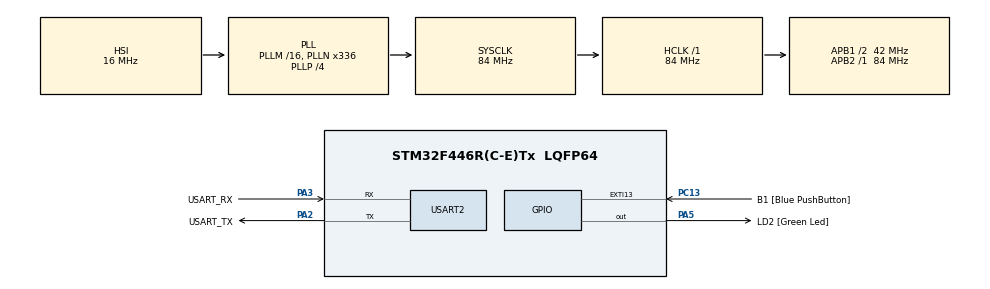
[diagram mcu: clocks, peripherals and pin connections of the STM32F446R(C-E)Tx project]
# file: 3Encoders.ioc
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Mcu.Family=STM32F4
Mcu.Name=STM32F446R(C-E)Tx
Mcu.Package=LQFP64
NVIC.PriorityGroup=NVIC_PRIORITYGROUP_0
PA13.GPIO_Label=TMS
PA13.Mode=Serial_Wire
PA13.Signal=SYS_JTMS-SWDIO
PA14.GPIO_Label=TCK
PA14.Mode=Serial_Wire
PA14.Signal=SYS_JTCK-SWCLK
PA2.GPIO_Label=USART_TX
PA2.Mode=Asynchronous
PA2.Signal=USART2_TX
PA3.GPIO_Label=USART_RX
PA3.Mode=Asynchronous
PA3.Signal=USART2_RX
PA5.GPIO_Label=LD2 [Green Led]
PA5.Signal=GPIO_Output
PB3.GPIO_Label=SWO
PB3.Signal=SYS_JTDO-SWO
PC13.GPIO_Label=B1 [Blue PushButton]
PC13.GPIO_ModeDefaultEXTI=GPIO_MODE_IT_FALLING
PC13.Signal=GPXTI13
PC14-OSC32_IN.Mode=LSE-External-Oscillator
PC14-OSC32_IN.Signal=RCC_OSC32_IN
PC15-OSC32_OUT.Mode=LSE-External-Oscillator
PC15-OSC32_OUT.Signal=RCC_OSC32_OUT
PH0-OSC_IN.Mode=HSE-External-Oscillator
PH0-OSC_IN.Signal=RCC_OSC_IN
PH1-OSC_OUT.Mode=HSE-External-Oscillator
PH1-OSC_OUT.Signal=RCC_OSC_OUT
ProjectManager.HeapSize=0x200
ProjectManager.StackSize=0x400
ProjectManager.TargetToolchain=STM32CubeIDE
RCC.48MHZClocksFreq_Value=84000000
RCC.AHBFreq_Value=84000000
RCC.APB1CLKDivider=RCC_HCLK_DIV2
RCC.APB1Freq_Value=42000000
RCC.APB1TimFreq_Value=84000000
RCC.APB2Freq_Value=84000000
RCC.APB2TimFreq_Value=84000000
RCC.CortexFreq_Value=84000000
RCC.FLatency-AdvancedSettings=FLASH_LATENCY_2
RCC.HCLKFreq_Value=84000000
RCC.HSE_VALUE=8000000
RCC.HSI_VALUE=16000000
RCC.PLLN=336
RCC.PLLP=RCC_PLLP_DIV4
RCC.SYSCLKFreq_VALUE=84000000
RCC.SYSCLKSource=RCC_SYSCLKSOURCE_PLLCLK
RCC.USBFreq_Value=168000000
RCC.VCOOutputFreq_Value=336000000
USART2.VirtualMode=VM_ASYNC
board=NUCLEO-F446RE

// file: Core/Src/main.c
/* USER CODE BEGIN Header */
/**
  ******************************************************************************
  * @file           : main.c
  * @brief          : Main program body
  ******************************************************************************
  * @attention
  *
  * Copyright (c) 2025 STMicroelectronics.
  * All rights reserved.
  *
  * This software is licensed under terms that can be found in the LICENSE file
  * in the root directory of this software component.
  * If no LICENSE file comes with this software, it is provided AS-IS.
  *
  ******************************************************************************
  */
/* USER CODE END Header */
#include "main.h"

/* USER CODE BEGIN Includes */
#include <stdio.h>
/* USER CODE END Includes */

UART_HandleTypeDef huart2;

void SystemClock_Config(void);
static void MX_GPIO_Init(void);
static void MX_USART2_UART_Init(void);

/* USER CODE BEGIN 0 */
//void Channel_A_Config(void)
//{
//  uint32_t *pAHB1ClkCtrlReg =   (uint32_t*)0x40023830; // address of AHB1 clock control register
//  uint32_t *pAFRLPortAReg   =   (uint32_t*)0x40020024; // address of alternate function register of port A
//  uint32_t *pPortAModeReg   =   (uint32_t*)0x40020000; // address of port A mode register
//  uint32_t *pPortAPullUpReg =   (uint32_t*)0x4002000C; // address of port A pull up register
//
//  *pAHB1ClkCtrlReg |= 0x1;        // port A clock enable
//  *pAFRLPortAReg   |= 0x00000001; // alternate function of Timer 1 Channel 1 enabled
//  *pPortAModeReg   &= 0xFFFCFFFF;
//  *pPortAModeReg   |= 0x00020000; // port A Pin 8 configured for 'Alternate function'
//  *pPortAPullUpReg |= 0x10000;    // port A Pin 8 pulled up
//}
//
//void Channel_B_Config(void)
//{
//  uint32_t *pAHB1ClkCtrlReg =   (uint32_t*)0x40023830; // address of AHB1 clock control register
//  uint32_t *pAFRLPortAReg   =   (uint32_t*)0x40020024; // address of alternate function register of port A
//  uint32_t *pPortAModeReg   =   (uint32_t*)0x40020000; // address of port A mode register
//  uint32_t *pPortAPullUpReg =   (uint32_t*)0x4002000C; // address of port A pull up register
//
//  *pAHB1ClkCtrlReg |= 0x1;        // port A clock enable
//  *pAFRLPortAReg   |= 0x00000010; // alternate function of Timer 1 Channel 2 enabled
//  *pPortAModeReg   &= 0xFFF3FFFF;
//  *pPortAModeReg   |= 0x00080000; // port A Pin 9 configured for 'Alternate function'
//  *pPortAPullUpReg |= 0x40000;    // port A Pin 9 pulled up
//}
//
//void Channel_A_Config1(void)
//{
//  uint32_t *pAHB1ClkCtrlReg =   (uint32_t*)0x40023830; // address of AHB1 clock control register
//  uint32_t *pAFRLPortAReg   =   (uint32_t*)0x40020024; // address of alternate function register of port A
//  uint32_t *pPortAModeReg   =   (uint32_t*)0x40020000; // address of port A mode register
//  uint32_t *pPortAPullUpReg =   (uint32_t*)0x4002000C; // address of port A pull up register
//
//  *pAHB1ClkCtrlReg |= 0x1;        // port A clock enable
//  *pAFRLPortAReg   |= 0x00010000; // alternate function of Timer 2 Channel 1 enabled
//  *pPortAModeReg   &= 0x3FFFFFFF;
//  *pPortAModeReg   |= 0x80000000; // port A Pin 15 configured for 'Alternate function'
//  *pPortAPullUpReg |= 0x40000000;    // port A Pin 15 pulled up
//}
//
//void Channel_B_Config1(void)
//{
//  uint32_t *pAHB1ClkCtrlReg =   (uint32_t*)0x40023830; // address of AHB1 clock control register
//  uint32_t *pAFRLPortBReg   =   (uint32_t*)0x40020420; // address of alternate function register of port B
//  uint32_t *pPortBModeReg   =   (uint32_t*)0x40020400; // address of port B mode register
//  uint32_t *pPortBPullUpReg =   (uint32_t*)0x4002040C; // address of port B pull up register
//
//  *pAHB1ClkCtrlReg |= 0x2;        // port B clock enable
//  *pAFRLPortBReg   |= 0x00100000; // alternate function of Timer 2 Channel 2 enabled
//  *pPortBModeReg   &= 0xFFFFFF3F;
//  *pPortBModeReg   |= 0x00000080; // port B Pin 3 configured for 'Alternate function'
//  *pPortBPullUpReg |= 0x0040;     // port B Pin 3 pulled up
//}
//
//
//void Channel_A_Config2(void)
//{
//  uint32_t *pAHB1ClkCtrlReg =   (uint32_t*)0x40023830; // address of AHB1 clock control register
//  uint32_t *pAFRLPortBReg   =   (uint32_t*)0x40020420; // address of alternate function register of port B
//  uint32_t *pPortBModeReg   =   (uint32_t*)0x40020400; // address of port B mode register
//  uint32_t *pPortBPullUpReg =   (uint32_t*)0x4002040C; // address of port B pull up register
//
//  *pAHB1ClkCtrlReg |= 0x2;        // port B clock enable
//  *pAFRLPortBReg   |= 0x00001000; // alternate function of Timer 3 Channel 1 enabled
//  *pPortBModeReg   &= 0xFFFFFCFF;
//  *pPortBModeReg   |= 0x00000200; // port B Pin 4 configured for 'Alternate function'
//  *pPortBPullUpReg |= 0x00100;     // port B Pin 4 pulled up
//}
//
//
//void Channel_B_Config2(void)
//{
//  uint32_t *pAHB1ClkCtrlReg =   (uint32_t*)0x40023830; // address of AHB1 clock control register
//  uint32_t *pAFRLPortBReg   =   (uint32_t*)0x40020420; // address of alternate function register of port B
//  uint32_t *pPortBModeReg   =   (uint32_t*)0x40020400; // address of port B mode register
//  uint32_t *pPortBPullUpReg =   (uint32_t*)0x4002040C; // address of port B pull up register
//
//  *pAHB1ClkCtrlReg |= 0x2;        // port B clock enable
//  *pAFRLPortBReg   |= 0x00001000; // alternate function of Timer 3 Channel 2 enabled
//  *pPortBModeReg   &= 0xFFFFF3FF;
//  *pPortBModeReg   |= 0x00000800; // port B Pin 5 configured for 'Alternate function'
//  *pPortBPullUpReg |= 0x00400;     // port B Pin 5 pulled up
//}
//
//void Encoder_Init(uint16_t ARR_Value)
//{
//	 uint32_t *pAPB2ClkCtrlReg =   (uint32_t*)0x40023844; // address of APB2 clock control register
//	 uint32_t *pTimer1ArrReg   =   (uint32_t*)0x4001002C; // address of timer 1 auto reload register
//	 uint32_t *pTimer1CCMR1Reg =   (uint32_t*)0x40010018; // address of timer 1 capture/compare register
//	 uint32_t *pTimer1CcerReg  =   (uint32_t*)0x40010020; // address of timer 1 capture/compare enable register
//     uint32_t *pTimer1SmcrReg  =   (uint32_t*)0x40010008; // address of timer 1 slave mode control register
//     uint32_t *pTimer1CR1Reg   =   (uint32_t*)0x40010000; // address of timer 1 control register 1
//
//    *pAPB2ClkCtrlReg |= 0x1;           //timer 1 clock enable
//    *pTimer1ArrReg   =  ARR_Value - 1; // maximum count value for counter
//    *pTimer1CCMR1Reg |= 0x1;   // mapping 'Input capture 1' mode in timer 1 Channel 1 and configuring it as input
//    *pTimer1CCMR1Reg |= 0x100; // mapping 'Input capture 2' mode in timer 1 Channel 2 and configuring it as input
//    *pTimer1CcerReg  |= 0x2;   // channel 1 triggered at rising edge
//    *pTimer1CcerReg  |= 0x20;  // channel 2 triggered at rising edge
//    *pTimer1SmcrReg  |= 0x3;   // counter counts up/down on both channel 1 and channel 2 edges depending on the level of the other input.
//    *pTimer1CR1Reg   |= 0x1;   // counter enable
//}
//
//void Encoder_Init1(uint16_t ARR_Value)
//{
//	 uint32_t *pAPB1ClkCtrlReg =   (uint32_t*)0x40023840; // address of APB2 clock control register
//	 uint32_t *pTimer2ArrReg   =   (uint32_t*)0x4000002C; // address of timer 2 auto reload register
//	 uint32_t *pTimer2CCMR1Reg =   (uint32_t*)0x40000018; // address of timer 2 capture/compare register
//	 uint32_t *pTimer2CcerReg  =   (uint32_t*)0x40000020; // address of timer 2 capture/compare enable register
//     uint32_t *pTimer2SmcrReg  =   (uint32_t*)0x40000008; // address of timer 2 slave mode control register
//     uint32_t *pTimer2CR1Reg   =   (uint32_t*)0x40000000; // address of timer 2 control register 1
//
//    *pAPB1ClkCtrlReg |= 0x1;           //timer 2 clock enable
//    *pTimer2ArrReg   =  ARR_Value - 1; // maximum count value for counter
//    *pTimer2CCMR1Reg |= 0x1;   // mapping 'Input capture 1' mode in timer 2 Channel 1 and configuring it as input
//    *pTimer2CCMR1Reg |= 0x100; // mapping 'Input capture 2' mode in timer 2 Channel 2 and configuring it as input
//    *pTimer2CcerReg  |= 0x2;   // channel 1 triggered at rising edge
//    *pTimer2CcerReg  |= 0x20;  // channel 2 triggered at rising edge
//    *pTimer2SmcrReg  |= 0x3;   // counter counts up/down on both channel 1 and channel 2 edges depending on the level of the other input.
//    *pTimer2CR1Reg   |= 0x1;   // counter enable
//}
//
//
//void Encoder_Init2(uint16_t ARR_Value)
//{
//	 uint32_t *pAPB1ClkCtrlReg =   (uint32_t*)0x40023840; // address of APB2 clock control register
//	 uint32_t *pTimer3ArrReg   =   (uint32_t*)0x4000042C; // address of timer 3 auto reload register
//	 uint32_t *pTimer3CCMR1Reg =   (uint32_t*)0x40000418; // address of timer 3 capture/compare register
//	 uint32_t *pTimer3CcerReg  =   (uint32_t*)0x40000420; // address of timer 3 capture/compare enable register
//     uint32_t *pTimer3SmcrReg  =   (uint32_t*)0x40000408; // address of timer 3 slave mode control register
//     uint32_t *pTimer3CR1Reg   =   (uint32_t*)0x40000400; // address of timer 3 control register 1
//
//    *pAPB1ClkCtrlReg |= 0x2;           //timer 3 clock enable
//    *pTimer3ArrReg   =  ARR_Value - 1; // maximum count value for counter
//    *pTimer3CCMR1Reg |= 0x1;   // mapping 'Input capture 1' mode in timer 3 Channel 1 and configuring it as input
//    *pTimer3CCMR1Reg |= 0x100; // mapping 'Input capture 2' mode in timer 3 Channel 2 and configuring it as input
//    *pTimer3CcerReg  |= 0x2;   // channel 1 triggered at rising edge
//    *pTimer3CcerReg  |= 0x20;  // channel 2 triggered at rising edge
//    *pTimer3SmcrReg  |= 0x3;   // counter counts up/down on both channel 1 and channel 2 edges depending on the level of the other input.
//    *pTimer3CR1Reg   |= 0x1;   // counter enable
//}
//uint16_t Get_Encoder_Counts()
//{
//	 uint32_t *pTimer1CNTReg   =   (uint32_t*)0x40010024; // address of timer 2 counter register
//	 return *pTimer1CNTReg; // reading counts from counter register
//
//}
//uint16_t Get_Encoder_Counts1()
//{
//	 uint32_t *pTimer2CNTReg   =   (uint32_t*)0x40000024; // address of timer 2 counter register
//	 return *pTimer2CNTReg; // reading counts from counter register
//
//}
//uint16_t Get_Encoder_Counts2()
//{
//	 uint32_t *pTimer3CNTReg   =   (uint32_t*)0x40000424; // address of timer 3 counter register
//	 return *pTimer3CNTReg; // reading counts from counter register
//
//}

void Channel_A_Config(void)
{
  uint32_t *pAHB1ClkCtrlReg =   (uint32_t*)0x40023830; // address of AHB1 clock control register
  uint32_t *pAFRLPortAReg   =   (uint32_t*)0x40020820; // address of alternate function register of port A
  uint32_t *pPortCModeReg   =   (uint32_t*)0x40020800; // address of port C mode register
  uint32_t *pPortCPullUpReg =   (uint32_t*)0x4002080C; // address of port C pull up register

  *pAHB1ClkCtrlReg |= 0x4;        // port C clock enable
  *pAFRLPortAReg   |= 0x03000000; // alternate function of Timer 8 Channel 1 enabled
  *pPortCModeReg   &= 0xFFFFCFFF;
  *pPortCModeReg   |= 0x00002000; // port C Pin 6 configured for 'Alternate function'
  *pPortCPullUpReg |= 0x1000;    // port C Pin 6 pulled up
}

void Channel_B_Config(void)
{
  uint32_t *pAHB1ClkCtrlReg =   (uint32_t*)0x40023830; // address of AHB1 clock control register
  uint32_t *pAFRLPortAReg   =   (uint32_t*)0x40020820; // address of alternate function register of port A
  uint32_t *pPortCModeReg   =   (uint32_t*)0x40020800; // address of port C mode register
  uint32_t *pPortCPullUpReg =   (uint32_t*)0x4002080C; // address of port C pull up register

  *pAHB1ClkCtrlReg |= 0x4;        // port C clock enable
  *pAFRLPortAReg   |= 0x30000000; // alternate function of Timer 8 Channel 2 enabled
  *pPortCModeReg   &= 0xFFFF3FFF;
  *pPortCModeReg   |= 0x00008000; // port C Pin 7 configured for 'Alternate function'
  *pPortCPullUpReg |= 0x4000;    // port C Pin 7 pulled up
}

void Encoder_Init(uint16_t ARR_Value)
{
	 uint32_t *pAPB2ClkCtrlReg =   (uint32_t*)0x40023844; // address of APB2 clock control register
	 uint32_t *pTimer8ArrReg   =   (uint32_t*)0x4001082C; // address of timer 8 auto reload register
	 uint32_t *pTimer8CCMR1Reg =   (uint32_t*)0x40010818; // address of timer 8 capture/compare register
	 uint32_t *pTimer8CcerReg  =   (uint32_t*)0x40010820; // address of timer 8 capture/compare enable register
     uint32_t *pTimer8SmcrReg  =   (uint32_t*)0x40010808; // address of timer 8 slave mode control register
     uint32_t *pTimer8CR1Reg   =   (uint32_t*)0x40010800; // address of timer 8 control register 1

    *pAPB2ClkCtrlReg |= 0x2;           //timer 1 clock enable
    *pTimer8ArrReg   =  ARR_Value - 1; // maximum count value for counter
    *pTimer8CCMR1Reg |= 0x1;   // mapping 'Input capture 1' mode in timer 8 Channel 1 and configuring it as input
    *pTimer8CCMR1Reg |= 0x100; // mapping 'Input capture 2' mode in timer 8 Channel 2 and configuring it as input
    *pTimer8CcerReg  |= 0x2;   // channel 1 triggered at rising edge
    *pTimer8CcerReg  |= 0x20;  // channel 2 triggered at rising edge
    *pTimer8SmcrReg  |= 0x3;   // counter counts up/down on both channel 1 and channel 2 edges depending on the level of the other input.
    *pTimer8CR1Reg   |= 0x1;   // counter enable
}

uint16_t Get_Encoder_Counts()
{
	 uint32_t *pTimer8CNTReg   =   (uint32_t*)0x40010824; // address of timer 8 counter register
	 return *pTimer8CNTReg; // reading counts from counter register

}

/* USER CODE END 0 */

int main(void)
{

  /* MCU Configuration--------------------------------------------------------*/

  /* Reset of all peripherals, Initializes the Flash interface and the Systick. */
  HAL_Init();

  /* Configure the system clock */
  SystemClock_Config();

  /* Initialize all configured peripherals */
  MX_GPIO_Init();
  MX_USART2_UART_Init();
  /* USER CODE BEGIN 2 */
  Channel_A_Config();
  Channel_B_Config();
  Encoder_Init(65535);

//  Channel_A_Config1();
//  Channel_B_Config1();
//  Encoder_Init1(65535);
//
//  Channel_A_Config2();
//  Channel_B_Config2();
//  Encoder_Init2(65535);
  /* USER CODE END 2 */

  /* Infinite loop */
  while (1)
  {

    /* USER CODE BEGIN 3 */
//	  printf("Encoder: %u %u %u\r\n", Get_Encoder_Counts(), Get_Encoder_Counts1(), Get_Encoder_Counts2());
	  printf("Encoder: %u\r\n", Get_Encoder_Counts());
  }
  /* USER CODE END 3 */
}

void SystemClock_Config(void)
{
  RCC_OscInitTypeDef RCC_OscInitStruct = {0};
  RCC_ClkInitTypeDef RCC_ClkInitStruct = {0};

  /** Configure the main internal regulator output voltage
  */
  __HAL_RCC_PWR_CLK_ENABLE();
  __HAL_PWR_VOLTAGESCALING_CONFIG(PWR_REGULATOR_VOLTAGE_SCALE3);

  /** Initializes the RCC Oscillators according to the specified parameters
  * in the RCC_OscInitTypeDef structure.
  */
  RCC_OscInitStruct.OscillatorType = RCC_OSCILLATORTYPE_HSI;
  RCC_OscInitStruct.HSIState = RCC_HSI_ON;
  RCC_OscInitStruct.HSICalibrationValue = RCC_HSICALIBRATION_DEFAULT;
  RCC_OscInitStruct.PLL.PLLState = RCC_PLL_ON;
  RCC_OscInitStruct.PLL.PLLSource = RCC_PLLSOURCE_HSI;
  RCC_OscInitStruct.PLL.PLLM = 16;
  RCC_OscInitStruct.PLL.PLLN = 336;
  RCC_OscInitStruct.PLL.PLLP = RCC_PLLP_DIV4;
  RCC_OscInitStruct.PLL.PLLQ = 2;
  RCC_OscInitStruct.PLL.PLLR = 2;
  if (HAL_RCC_OscConfig(&RCC_OscInitStruct) != HAL_OK)
  {
    Error_Handler();
  }

  /** Initializes the CPU, AHB and APB buses clocks
  */
  RCC_ClkInitStruct.ClockType = RCC_CLOCKTYPE_HCLK|RCC_CLOCKTYPE_SYSCLK
                              |RCC_CLOCKTYPE_PCLK1|RCC_CLOCKTYPE_PCLK2;
  RCC_ClkInitStruct.SYSCLKSource = RCC_SYSCLKSOURCE_PLLCLK;
  RCC_ClkInitStruct.AHBCLKDivider = RCC_SYSCLK_DIV1;
  RCC_ClkInitStruct.APB1CLKDivider = RCC_HCLK_DIV2;
  RCC_ClkInitStruct.APB2CLKDivider = RCC_HCLK_DIV1;

  if (HAL_RCC_ClockConfig(&RCC_ClkInitStruct, FLASH_LATENCY_2) != HAL_OK)
  {
    Error_Handler();
  }
}

static void MX_USART2_UART_Init(void)
{

  huart2.Instance = USART2;
  huart2.Init.BaudRate = 115200;
  huart2.Init.WordLength = UART_WORDLENGTH_8B;
  huart2.Init.StopBits = UART_STOPBITS_1;
  huart2.Init.Parity = UART_PARITY_NONE;
  huart2.Init.Mode = UART_MODE_TX_RX;
  huart2.Init.HwFlowCtl = UART_HWCONTROL_NONE;
  huart2.Init.OverSampling = UART_OVERSAMPLING_16;
  if (HAL_UART_Init(&huart2) != HAL_OK)
  {
    Error_Handler();
  }

}

static void MX_GPIO_Init(void)
{
  GPIO_InitTypeDef GPIO_InitStruct = {0};

  /* GPIO Ports Clock Enable */
  __HAL_RCC_GPIOC_CLK_ENABLE();
  __HAL_RCC_GPIOH_CLK_ENABLE();
  __HAL_RCC_GPIOA_CLK_ENABLE();
  __HAL_RCC_GPIOB_CLK_ENABLE();

  /*Configure GPIO pin Output Level */
  HAL_GPIO_WritePin(LD2_GPIO_Port, LD2_Pin, GPIO_PIN_RESET);

  /*Configure GPIO pin : B1_Pin */
  GPIO_InitStruct.Pin = B1_Pin;
  GPIO_InitStruct.Mode = GPIO_MODE_IT_FALLING;
  GPIO_InitStruct.Pull = GPIO_NOPULL;
  HAL_GPIO_Init(B1_GPIO_Port, &GPIO_InitStruct);

  /*Configure GPIO pin : LD2_Pin */
  GPIO_InitStruct.Pin = LD2_Pin;
  GPIO_InitStruct.Mode = GPIO_MODE_OUTPUT_PP;
  GPIO_InitStruct.Pull = GPIO_NOPULL;
  GPIO_InitStruct.Speed = GPIO_SPEED_FREQ_LOW;
  HAL_GPIO_Init(LD2_GPIO_Port, &GPIO_InitStruct);

}

/* USER CODE BEGIN 4 */
int _write(int file, char *ptr, int len) {
	HAL_UART_Transmit(&huart2, (uint8_t*) ptr, len, HAL_MAX_DELAY);
	return len;
}
/* USER CODE END 4 */

void Error_Handler(void)
{
  __disable_irq();
  while (1)
  {
  }
}
